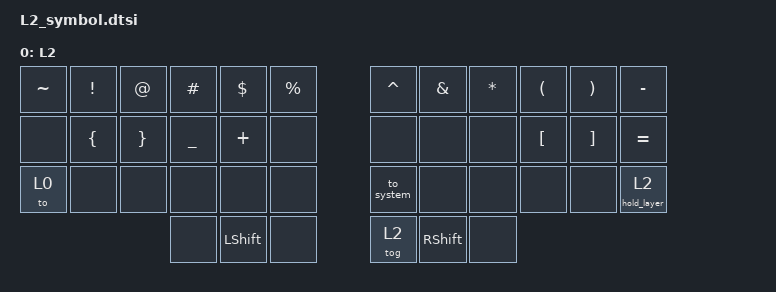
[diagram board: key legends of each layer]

/ {
  keymap {
    compatible = "zmk,keymap";

    l2_symbol {
      label = "L2";
      bindings = <
//  ╭────────────────┬────────────────┬────────────────┬────────────────┬────────────────┬────────────────╮    ╭────────────────┬────────────────┬────────────────┬────────────────┬────────────────┬────────────────╮
//  │0               │1               │2               │3               │4               │5               │    │6               │7               │8               │9               │10              │11              │
     &kp TILDE        &kp EXCL         &kp AT           &kp HASH         &kp DLLR         &kp PRCNT             &kp CARET        &kp AMPS         &kp ASTRK        &kp LPAR         &kp RPAR         &kp MINUS        
//  ├────────────────┼────────────────┼────────────────┼────────────────┼────────────────┼────────────────┤    ├────────────────┼────────────────┼────────────────┼────────────────┼────────────────┼────────────────┤
//  │12              │13              │14              │15              │16              │17              │    │18              │19              │20              │21              │22              │23              │
     &none            &kp LBRC         &kp RBRC         &kp UNDER        &kp PLUS         &none                 &none            &none            &none            &kp LBKT         &kp RBKT         &kp EQUAL        
//  ├────────────────┼────────────────┼────────────────┼────────────────┼────────────────┼────────────────┤    ├────────────────┼────────────────┼────────────────┼────────────────┼────────────────┼────────────────┤
//  │24              │25              │26              │27              │28              │29              │    │30              │31              │32              │33              │34              │35              │
     &to L0           &none            &none            &none            &none            &none                 &to_system       &none            &none            &none            &none            &hold_layer L2          
//  ╰────────────────┴────────────────┴────────────────┼────────────────┼────────────────┼────────────────┤    ├────────────────┼────────────────┼────────────────┼────────────────┴────────────────┴────────────────╯
//                                                     │36              │37              │38              │    │39              │40              │41              │
                                                        &none            &kp LSHIFT       &none                 &tog L2           &kp RSHIFT       &none            
//                                                     ╰────────────────┴────────────────┴────────────────╯    ╰────────────────┴────────────────┴────────────────╯
      >;
    };
  };
};
